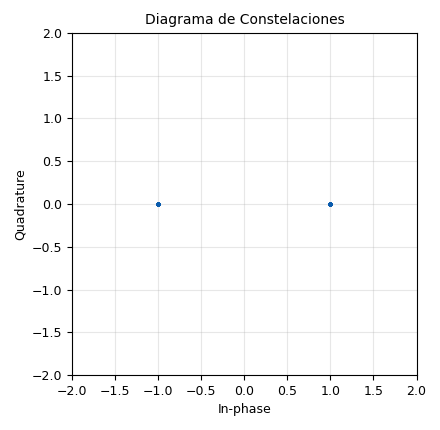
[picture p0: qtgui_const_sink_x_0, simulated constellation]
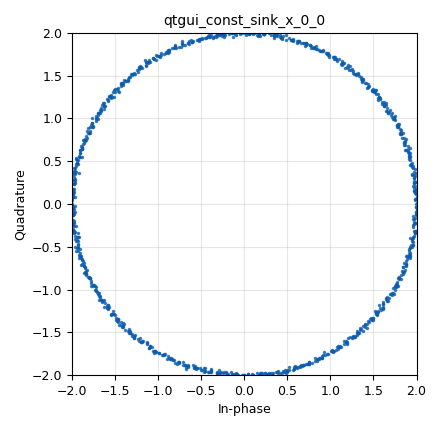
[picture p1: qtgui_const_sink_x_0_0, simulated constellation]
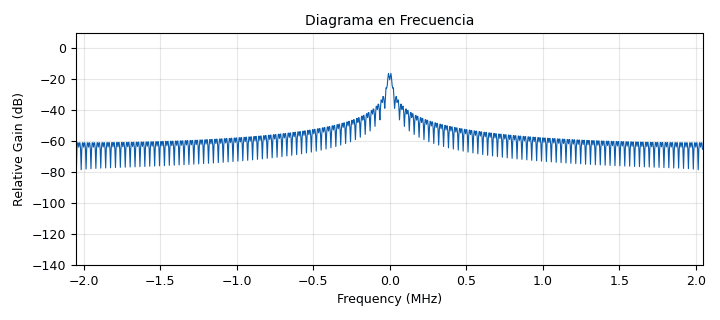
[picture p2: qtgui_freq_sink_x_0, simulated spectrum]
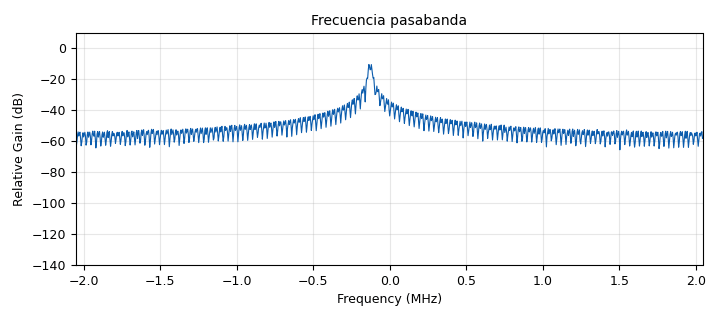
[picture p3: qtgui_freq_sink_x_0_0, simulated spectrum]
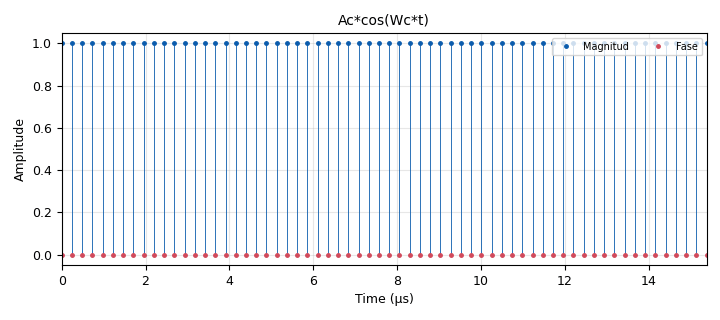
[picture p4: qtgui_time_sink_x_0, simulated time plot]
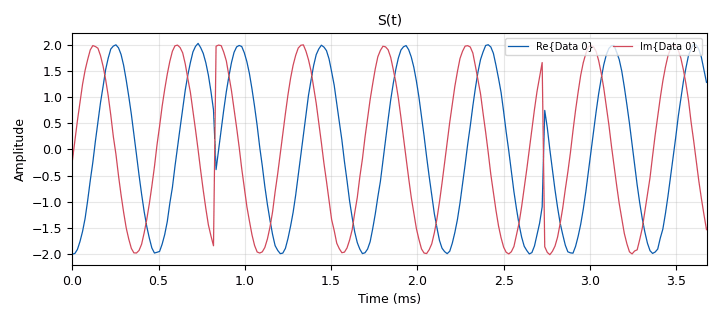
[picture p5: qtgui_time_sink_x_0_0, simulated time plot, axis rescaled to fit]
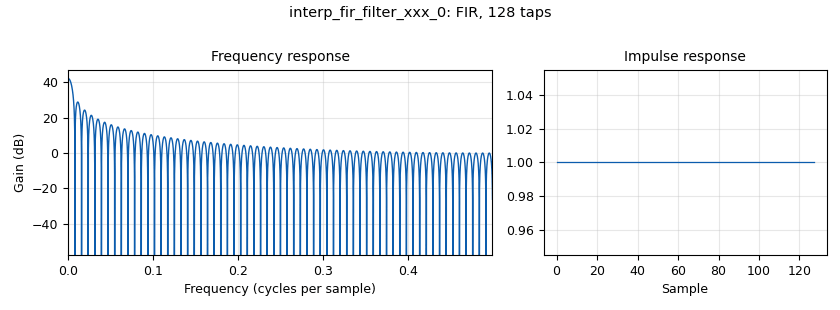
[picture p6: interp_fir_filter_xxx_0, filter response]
options:
  parameters:
    author: radiogis_director
    generate_options: qt_gui
    id: top_block
    output_language: python
    title: top_block
  states: {}

blocks:
- name: M
  id: variable
  parameters:
    value: len(tabla_de_verdad_constelacion )
  states: {}
- name: Rb
  id: variable
  parameters:
    value: Rs*bps
  states: {}
- name: Rs
  id: variable
  parameters:
    value: '32000'
  states: {}
- name: Sps
  id: variable
  parameters:
    value: '128'
  states: {}
- name: bps
  id: variable
  parameters:
    value: int(math.log(M,2))
  states: {}
- name: h
  id: variable
  parameters:
    value: '[1]*Sps'
  states: {}
- name: samp_rate
  id: variable
  parameters:
    value: Rs*Sps
  states: {}
- name: tabla_de_verdad_constelacion
  id: variable
  parameters:
    value: '[1,-1]'
  states: {}
- name: analog_noise_source_x_0
  id: analog_noise_source_x
  parameters:
    amp: '0.01'
    noise_type: analog.GR_GAUSSIAN
    seed: '0'
    type: complex
  states: {}
- name: analog_random_source_x_0
  id: analog_random_source_x
  parameters:
    max: '2'
    min: '0'
    num_samps: '1000'
    repeat: 'True'
    type: byte
  states: {}
- name: analog_sig_source_x_0
  id: analog_sig_source_x
  parameters:
    amp: '1'
    freq: '1000'
    offset: '0'
    phase: '0'
    samp_rate: samp_rate
    type: complex
    waveform: analog.GR_COS_WAVE
  states: {}
- name: analog_sig_source_x_1
  id: analog_sig_source_x
  parameters:
    amp: '1'
    freq: '1000'
    offset: '0'
    phase: '0'
    samp_rate: samp_rate
    type: complex
    waveform: analog.GR_SIN_WAVE
  states: {}
- name: blocks_add_xx_0
  id: blocks_add_xx
  parameters:
    type: complex
  states: {}
- name: blocks_add_xx_1
  id: blocks_add_xx
  parameters:
    type: complex
  states: {}
- name: blocks_multiply_xx_0
  id: blocks_multiply_xx
  parameters:
    type: complex
  states: {}
- name: blocks_multiply_xx_1
  id: blocks_multiply_xx
  parameters:
    type: complex
  states: {}
- name: blocks_pack_k_bits_bb_0
  id: blocks_pack_k_bits_bb
  parameters:
    k: '8'
  states: {}
- name: blocks_packed_to_unpacked_xx_0
  id: blocks_packed_to_unpacked_xx
  parameters:
    bits_per_chunk: bps
    endianness: gr.GR_MSB_FIRST
    type: byte
  states: {}
- name: digital_chunks_to_symbols_xx_0
  id: digital_chunks_to_symbols_xx
  parameters:
    dimension: '1'
    in_type: byte
    out_type: complex
    symbol_table: tabla_de_verdad_constelacion
  states: {}
- name: epy_block_0
  id: epy_block
  parameters:
    Fc: Rb*4
    Samp_Rate: samp_rate
    _source_code: |
      import numpy as np
      from gnuradio import gr

      class blk(gr.sync_block):
          """
          Bloque embebido para convertir una señal modulada en coseno
          a una señal en base banda compleja.
          
          Parámetros:
              Samp_Rate : Frecuencia de muestreo (Hz)
              Fc        : Frecuencia de la portadora (Hz)
          
          Entrada:
              float32 (real)  → señal modulada en coseno (ej. AM, FM, etc.)
          
          Salida:
              complex64 (compleja) → señal equivalente en base banda
          """

          def __init__(self, Samp_Rate=32000, Fc=5000):
              # Llamada al constructor de la clase base 'sync_block' de GNU Radio.
              # Este tipo de bloque produce una muestra de salida por cada muestra de entrada.
              gr.sync_block.__init__(
                  self,
                  name='Upconverter to Complex Baseband',  # Nombre del bloque que aparece en GNU Radio Companion
                  in_sig=[np.complex64],   # Tipo de señal de entrada (aquí está definido como compleja)
                  out_sig=[np.complex64]   # Tipo de señal de salida (compleja)
              )

              # Almacena los parámetros de configuración del bloque
              self.samp_rate = float(Samp_Rate)  # Frecuencia de muestreo
              self.fc = float(Fc)                # Frecuencia portadora
              self.phase = 0.0                   # Fase inicial del oscilador local
              # Incremento de fase por muestra (en radianes)
              self.phase_inc = 2 * np.pi * self.fc / self.samp_rate

          def work(self, input_items, output_items):
              """
              Función principal del bloque.
              Recibe un vector de muestras de entrada y produce el vector de salida.
              """
              in0 = input_items[0]   # Señal de entrada (vector numpy)
              out = output_items[0]  # Vector donde se almacenará la salida

              n = len(in0)            # Número de muestras del bloque de trabajo actual
              t = np.arange(n)        # Vector de índices de muestra

              # Calcula la fase acumulada del oscilador local para cada muestra
              phases = self.phase + t * self.phase_inc

              # Genera una señal compleja de referencia e^{-j2πFc t}
              # (mezclador complejo para trasladar la señal a base banda)
              mixer = np.exp(-1j * phases).astype(np.complex64)

              # Multiplica la señal de entrada por el mezclador
              # Esto efectúa una conversión de frecuencia (demodulación)
              out[:] = in0 * mixer

              # Actualiza la fase del oscilador para mantener continuidad entre llamadas a 'work'
              self.phase = (self.phase + n * self.phase_inc) % (2 * np.pi)

              # Devuelve el número de muestras procesadas
              return len(out)
  states: {}
- name: import_0
  id: import
  parameters:
    imports: import math
  states: {}
- name: interp_fir_filter_xxx_0
  id: interp_fir_filter_xxx
  parameters:
    interp: Sps
    taps: h
    type: ccc
  states: {}
- name: qtgui_const_sink_x_0
  id: qtgui_const_sink_x
  parameters:
    grid: 'True'
    name: '"Diagrama de Constelaciones"'
    size: '1024'
    type: complex
  states: {}
- name: qtgui_const_sink_x_0_0
  id: qtgui_const_sink_x
  parameters:
    size: '1024'
    type: complex
  states: {}
- name: qtgui_freq_sink_x_0
  id: qtgui_freq_sink_x
  parameters:
    average: '0.05'
    bw: samp_rate
    fc: '0'
    fftsize: '1024'
    grid: 'True'
    name: '"Diagrama en Frecuencia"'
    type: complex
    wintype: firdes.WIN_BLACKMAN_hARRIS
  states: {}
- name: qtgui_freq_sink_x_0_0
  id: qtgui_freq_sink_x
  parameters:
    alias: Frecuencia pasabanda
    average: '0.05'
    bw: samp_rate
    fc: '0'
    fftsize: '1024 '
    grid: 'True'
    name: '"Frecuencia pasabanda"'
    type: complex
    wintype: firdes.WIN_BLACKMAN_hARRIS
  states: {}
- name: qtgui_time_sink_x_0
  id: qtgui_time_sink_x
  parameters:
    autoscale: 'True'
    grid: 'True'
    label1: Magnitud
    label2: Fase
    marker1: '1'
    marker2: '0'
    name: '"Ac*cos(Wc*t)"'
    size: '64'
    srate: samp_rate
    stemplot: 'True'
    type: complex
  states: {}
- name: qtgui_time_sink_x_0_0
  id: qtgui_time_sink_x
  parameters:
    name: '"S(t)"'
    size: '248'
    srate: Rb*(1+1.1)
    type: complex
  states: {}
- name: virtual_sink_0
  id: virtual_sink
  parameters:
    stream_id: p1
  states: {}
- name: virtual_sink_0_0
  id: virtual_sink
  parameters:
    stream_id: Señal Modulada
  states: {}
- name: virtual_source_0_0
  id: virtual_source
  parameters:
    stream_id: Señal Modulada
  states: {}
- name: virtual_source_0_1
  id: virtual_source
  parameters:
    stream_id: p1
  states: {}

connections:
- [analog_noise_source_x_0, '0', blocks_add_xx_0, '1']
- [analog_random_source_x_0, '0', blocks_pack_k_bits_bb_0, '0']
- [analog_sig_source_x_0, '0', blocks_multiply_xx_0, '0']
- [analog_sig_source_x_1, '0', blocks_multiply_xx_1, '1']
- [blocks_add_xx_0, '0', virtual_sink_0, '0']
- [blocks_add_xx_1, '0', qtgui_const_sink_x_0_0, '0']
- [blocks_add_xx_1, '0', qtgui_freq_sink_x_0_0, '0']
- [blocks_add_xx_1, '0', qtgui_time_sink_x_0_0, '0']
- [blocks_multiply_xx_0, '0', blocks_add_xx_1, '0']
- [blocks_multiply_xx_1, '0', blocks_add_xx_1, '1']
- [blocks_pack_k_bits_bb_0, '0', blocks_packed_to_unpacked_xx_0, '0']
- [blocks_packed_to_unpacked_xx_0, '0', digital_chunks_to_symbols_xx_0, '0']
- [digital_chunks_to_symbols_xx_0, '0', interp_fir_filter_xxx_0, '0']
- [epy_block_0, '0', blocks_add_xx_0, '0']
- [interp_fir_filter_xxx_0, '0', epy_block_0, '0']
- [interp_fir_filter_xxx_0, '0', virtual_sink_0_0, '0']
- [virtual_source_0_0, '0', qtgui_const_sink_x_0, '0']
- [virtual_source_0_0, '0', qtgui_freq_sink_x_0, '0']
- [virtual_source_0_0, '0', qtgui_time_sink_x_0, '0']
- [virtual_source_0_1, '0', blocks_multiply_xx_0, '1']
- [virtual_source_0_1, '0', blocks_multiply_xx_1, '0']

metadata:
  file_format: 1
